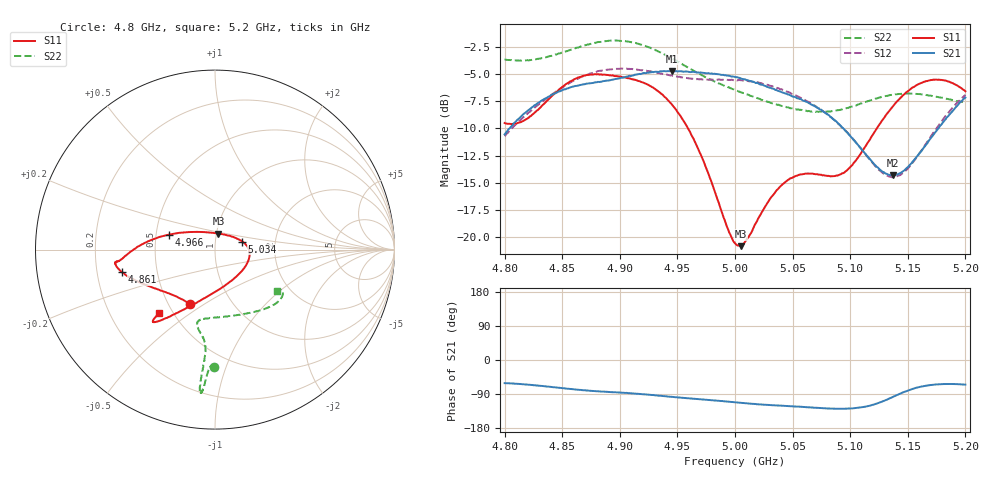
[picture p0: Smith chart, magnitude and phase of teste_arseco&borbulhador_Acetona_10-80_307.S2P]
! Network Analyzer HP8722D
! Hewlett-Packard
! Data name: Linha & Wilkinson
! Saver's name: Rodrigo Anjos
! Comments: Teste da utilização de aquisição
! continua pelo VNA HP8722D
! Time and date: 17/4/2025 16:55
!  Frequency  S11  S21  S12  S22
# HZ  S  MA R 50
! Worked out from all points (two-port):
!   401 points, 4.8 GHz to 5.2 GHz, reference 50 ohm
!   highest |S21| = -4.71 dB at 4.945 GHz (marker M1); lowest = -14.3 dB at 5.137 GHz (marker M2)
!   |S21| within 3 dB of the highest: 4.828 GHz to 5.065 GHz (236.8 MHz wide, 4.79 % of centre); 5.194504 GHz to end of sweep
!   lowest |S11| = -20.8 dB at 5.005 GHz (marker M3), VSWR 1.20, Z = 51.1 + j9.15 ohm
!   |S11| at or under -10 dB: 4.959 GHz to 5.123 GHz (163.8 MHz wide, 3.25 % of centre)
!   |S22| runs from -8.5 to -1.9 dB; largest |S21 - S12| = 0.87
!   S11 on the Smith chart (normalised r, x): 4.8 GHz: 0.64, -0.44; 4.861 GHz: 0.31, -0.11; 4.966 GHz: 0.59, +0.11; 5.034 GHz: 1.35, +0.12; 5.2 GHz: 0.42, -0.38
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4.8e9  0.335 -114.4  0.2972 -61.1  0.2914 -175.3  0.656 -90.3
4.819e9  0.3494 -134.6  0.3773 -64.7  0.3659 -174.3  0.6512 -92.0
4.861e9  0.534 -166.5  0.4953 -77.8  0.5291 -177.6  0.738 -94.3
4.867e9  0.5491 -168.8  0.5028 -79.5  0.5469 -178.6  0.7556 -94.4
4.899e9  0.5481 -173.1  0.5369 -85.8  0.5954 174.8  0.8011 -95.9
4.934e9  0.4663 -178.9  0.5759 -94.3  0.5695 171.4  0.7118 -96.1
4.945e9  0.409 176.0  0.5812 -97.3  0.5552 171.5  0.6651 -95.8
4.966e9  0.269 161.9  0.5734 -102.5  0.5327 173.3  0.575 -95.3
5e9  0.09358 96.5  0.545 -111.7  0.5291 175.6  0.4752 -99.4
5.005e9  0.09079 77.7  0.5373 -113.1  0.5269 175.5  0.4641 -100.6
5.034e9  0.1582 16.5  0.4801 -119.6  0.4914 174.3  0.4106 -103.3
5.049e9  0.1868 1.6  0.4464 -122.2  0.4567 173.6  0.3914 -99.5
5.067e9  0.1959 -17.6  0.4061 -125.3  0.4094 173.3  0.3779 -89.9
5.085e9  0.1907 -46.1  0.3496 -128.3  0.3498 173.6  0.3804 -76.4
5.096e9  0.2006 -68.3  0.3078 -128.5  0.3087 174.6  0.3911 -67.3
5.123e9  0.3163 -109.5  0.2105 -114.9  0.209 -169.6  0.4349 -48.5
5.134e9  0.3818 -118.1  0.1932 -101.6  0.1898 -154.7  0.4498 -43.1
5.137e9  0.3997 -119.9  0.1921 -97.6  0.189 -149.9  0.4525 -41.8
5.149e9  0.4646 -125.1  0.2077 -81.7  0.204 -131.6  0.4575 -37.3
5.168e9  0.525 -129.7  0.2764 -67.0  0.2794 -113.1  0.4481 -32.7
5.184e9  0.5223 -131.2  0.3562 -63.3  0.3671 -107.6  0.4331 -31.5
5.2e9  0.469 -131.4  0.4386 -65.1  0.4516 -107.1  0.4155 -33.8
